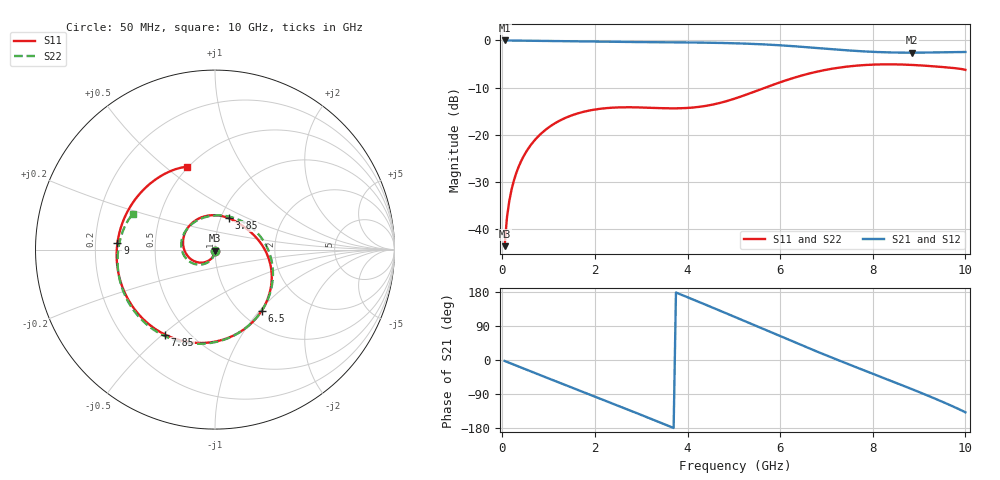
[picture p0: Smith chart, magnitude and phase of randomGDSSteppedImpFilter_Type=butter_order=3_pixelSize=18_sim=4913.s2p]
! freq	dB(S11)	phase(S11)	dB(S12)	phase(S12)
!  dB(S21)	phase(S21)	dB(S22)	phase(S22)
!S-par simulation data
#  GHz  S  DB  R 50
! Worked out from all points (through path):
!   200 points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, 50 MHz to 10 GHz, reference 50 ohm
!   highest |S21| = 0.00 dB at 50 MHz (marker M1); lowest = -2.6 dB at 8.85 GHz (marker M2)
!   group delay of S21, straight-line fit = 138 ps
!   lowest |S11| = -43.6 dB at 50 MHz (marker M3), VSWR 1.01, Z = 50 - j0.657 ohm
!   |S11| at or under -10 dB: start of sweep to 5.681 GHz
!   |S22| runs from -43.7 to -5.0 dB; largest |S21 - S12| = 0
!   S11 on the Smith chart (normalised r, x): 50 MHz: 1.00, -0.01; 3.85 GHz: 1.09, +0.40; 6.5 GHz: 1.22, -1.03; 7.85 GHz: 0.38, -0.51; 9 GHz: 0.29, +0.03; 10 GHz: 0.49, +0.59
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0.05  -43.64 -92.1  -0.00 -2.5  -0.00 -2.5  -43.66 -91.7
0.1  -37.62 -95.0  -0.01 -4.9  -0.01 -4.9  -37.65 -94.2
0.2  -31.64 -100.5  -0.02 -9.8  -0.02 -9.8  -31.64 -98.9
0.5  -23.88 -116.7  -0.05 -24.4  -0.05 -24.4  -23.83 -112.7
1.15  -17.49 -151.4  -0.14 -55.9  -0.14 -55.9  -17.50 -141.9
1.75  -15.15 176.9  -0.23 -84.7  -0.23 -84.7  -15.15 -168.2
2.5  -14.21 137.0  -0.31 -120.7  -0.31 -120.7  -14.25 159.3
2.95  -14.21 113.0  -0.34 -142.5  -0.34 -142.5  -14.27 139.7
3.4  -14.35 89.3  -0.37 -164.5  -0.37 -164.5  -14.43 119.1
3.85  -14.38 66.8  -0.41 173.1  -0.41 173.1  -14.47 96.9
4.4  -13.87 41.5  -0.47 145.5  -0.47 145.5  -13.98 66.9
5.05  -12.24 13.8  -0.61 112.2  -0.61 112.2  -12.34 28.8
5.75  -9.75 -17.1  -0.89 75.9  -0.89 75.9  -9.81 -11.9
6.5  -7.35 -52.9  -1.37 37.2  -1.37 37.2  -7.37 -52.3
6.7  -6.84 -62.7  -1.53 27.1  -1.53 27.1  -6.86 -62.4
7.25  -5.80 -90.0  -1.96 -0.2  -1.96 -0.2  -5.78 -89.0
7.85  -5.20 -120.4  -2.34 -29.1  -2.34 -29.1  -5.14 -115.9
8.35  -5.07 -146.8  -2.54 -52.9  -2.54 -52.9  -4.95 -137.1
8.85  -5.20 -175.0  -2.59 -77.1  -2.59 -77.1  -5.03 -157.6
9  -5.28 176.1  -2.59 -84.5  -2.59 -84.5  -5.10 -163.6
9.5  -5.63 144.2  -2.51 -110.0  -2.51 -110.0  -5.44 176.5
10  -6.24 108.9  -2.44 -138.1  -2.44 -138.1  -6.05 156.8
